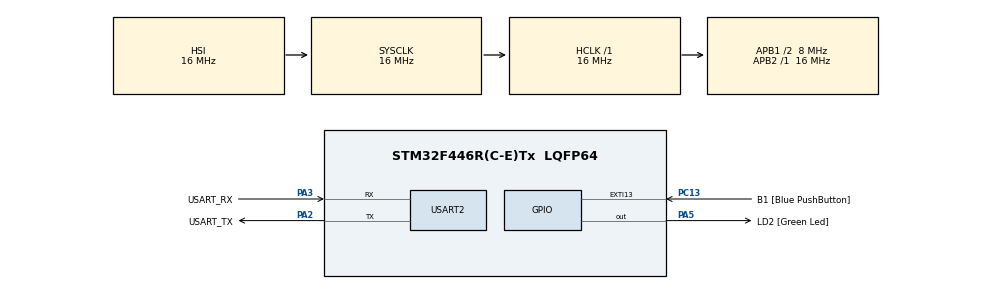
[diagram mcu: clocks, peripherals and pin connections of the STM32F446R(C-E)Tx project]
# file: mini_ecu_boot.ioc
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Mcu.Family=STM32F4
Mcu.Name=STM32F446R(C-E)Tx
Mcu.Package=LQFP64
NVIC.PriorityGroup=NVIC_PRIORITYGROUP_0
PA13.GPIO_Label=TMS
PA13.Mode=Serial_Wire
PA13.Signal=SYS_JTMS-SWDIO
PA14.GPIO_Label=TCK
PA14.Mode=Serial_Wire
PA14.Signal=SYS_JTCK-SWCLK
PA2.GPIO_Label=USART_TX
PA2.Mode=Asynchronous
PA2.Signal=USART2_TX
PA3.GPIO_Label=USART_RX
PA3.Mode=Asynchronous
PA3.Signal=USART2_RX
PA5.GPIO_Label=LD2 [Green Led]
PA5.Signal=GPIO_Output
PB3.GPIO_Label=SWO
PB3.Signal=SYS_JTDO-SWO
PC13.GPIO_Label=B1 [Blue PushButton]
PC13.GPIO_ModeDefaultEXTI=GPIO_MODE_IT_FALLING
PC13.Signal=GPXTI13
PC14-OSC32_IN.Mode=LSE-External-Oscillator
PC14-OSC32_IN.Signal=RCC_OSC32_IN
PC15-OSC32_OUT.Mode=LSE-External-Oscillator
PC15-OSC32_OUT.Signal=RCC_OSC32_OUT
PH0-OSC_IN.Mode=HSE-External-Oscillator
PH0-OSC_IN.Signal=RCC_OSC_IN
PH1-OSC_OUT.Mode=HSE-External-Oscillator
PH1-OSC_OUT.Signal=RCC_OSC_OUT
ProjectManager.HeapSize=0x200
ProjectManager.StackSize=0x400
ProjectManager.TargetToolchain=STM32CubeIDE
RCC.48MHZClocksFreq_Value=84000000
RCC.AHBFreq_Value=16000000
RCC.APB1CLKDivider=RCC_HCLK_DIV2
RCC.APB1Freq_Value=8000000
RCC.APB1TimFreq_Value=16000000
RCC.APB2Freq_Value=16000000
RCC.APB2TimFreq_Value=16000000
RCC.CortexFreq_Value=16000000
RCC.FLatency-AdvancedSettings=FLASH_LATENCY_0
RCC.HCLKFreq_Value=16000000
RCC.HSE_VALUE=8000000
RCC.HSI_VALUE=16000000
RCC.PLLN=336
RCC.PLLP=RCC_PLLP_DIV4
RCC.SYSCLKFreq_VALUE=16000000
RCC.USBFreq_Value=168000000
RCC.VCOOutputFreq_Value=336000000
USART2.VirtualMode=VM_ASYNC
board=NUCLEO-F446RE

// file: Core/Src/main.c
/**
  ******************************************************************************
  * @file    main.c
  * @brief   Bootloader entry point for Mini ECU v2.
  *
  * @details
  * This is a minimal, blocking bootloader for the STM32F446RE-based
  * "Mini ECU v2" project. It is intended to live in the first 32 KB of
  * flash (sectors 0 and 1) and to:
  *
  *   1. Initialize the HAL and basic peripherals (clock, GPIO, USART2).
  *   2. Check whether a user application appears to be present at
  *      APP_START_ADDR (0x08008000).
  *   3. If a valid app is detected:
  *        - Clean up interrupts and SysTick.
  *        - Remap the vector table to the app base.
  *        - Set MSP and PC from the app's vector table.
  *        - Jump to the application's Reset_Handler.
  *   4. If no valid app is found:
  *        - Stay in a simple error loop, blinking the LD2 LED.
  *
  * The bootloader currently does not implement any update protocol; it is
  * only a clean "chain loader". Future phases will add:
  *   - Boot decision logic (e.g., hold B1 at reset to stay in bootloader).
  *   - UART- or CAN-based firmware update protocol.
  *   - Image validation (checksums, signatures).
  *
  ******************************************************************************
  * @attention
  *
  * Copyright (c) 2025.
  * All rights reserved.
  *
  * This software is provided as-is, without any warranty.
  *
  ******************************************************************************
  */

#include "main.h"

/* USER CODE BEGIN Includes */
#include <stdio.h>
#include <string.h>
/* USER CODE END Includes */

/**
  * @brief Function pointer type for application entry point.
  *
  * This is used to represent the application's Reset_Handler as a callable
  * function after the bootloader sets up the MSP and vector table.
  */
typedef void (*pFunction)(void);

UART_HandleTypeDef huart2;

void SystemClock_Config(void);
static void MX_GPIO_Init(void);
static void MX_USART2_UART_Init(void);
/* USER CODE BEGIN PFP */

/**
  * @brief Perform a clean jump from the bootloader to the user application.
  *
  * @details
  * This function:
  *   - Reads the initial stack pointer and reset vector from APP_START_ADDR.
  *   - Performs a basic sanity check on the stack pointer (must be in SRAM).
  *   - De-initializes HAL, RCC, and SysTick.
  *   - Disables all interrupts.
  *   - Sets the vector table offset (VTOR) to APP_START_ADDR.
  *   - Sets MSP to the application's initial stack pointer.
  *   - Calls the application's Reset_Handler (never returns on success).
  *
  * If the application does not appear valid, this function returns and the
  * bootloader can take appropriate fallback action (e.g., stay in an error
  * loop or enter update mode).
  */
static void JumpToApplication(void);

/**
  * @brief Check if the user button (B1) is currently pressed.
  *
  * @retval 1 if pressed, 0 otherwise.
  *
  * @note On NUCLEO-F446RE, B1 is active-high on PC13 when using the default
  *       board configuration. Adjust the logic if your hardware differs.
  */
static uint8_t Boot_IsButtonPressed(void)
{
  GPIO_PinState state = HAL_GPIO_ReadPin(B1_GPIO_Port, B1_Pin);
  return (state == GPIO_PIN_SET) ? 1U : 0U;
}

/**
  * @brief Print a simple ASCII message over UART2.
  *
  * @param msg  Null-terminated C-string (no printf formatting here).
  */
static void Boot_Print(const char *msg)
{
  if (msg == NULL)
  {
    return;
  }
  size_t len = strlen(msg);
  if (len == 0U)
  {
    return;
  }
  (void)HAL_UART_Transmit(&huart2, (uint8_t *)msg, (uint16_t)len, 100);
}

/* USER CODE END PFP */

/* USER CODE BEGIN 0 */

static void JumpToApplication(void)
{
  uint32_t appStack = *(__IO uint32_t *)APP_START_ADDR;
  uint32_t appReset = *(__IO uint32_t *)(APP_START_ADDR + 4U);

  /*-------------------------------------------------------------------------
   * Sanity check: the initial stack pointer should point into SRAM.
   * For STM32F446RE:
   *   - SRAM1: 0x2000 0000 .. 0x2001 FFFF (128 KB)
   * If this check fails, we assume there is no valid application image.
   *-----------------------------------------------------------------------*/
  if ((appStack < 0x20000000U) || (appStack > 0x20020000U))
  {
    /* No apparently valid app; do not jump. */
    return;
  }

  /* De-initialize peripherals and HAL to leave a clean state. */
  HAL_RCC_DeInit();
  HAL_DeInit();

  /* Disable SysTick to avoid unwanted interrupts after the jump. */
  SysTick->CTRL = 0U;
  SysTick->LOAD = 0U;
  SysTick->VAL  = 0U;

  /* Disable all NVIC interrupts and clear any pending flags. */
  for (uint8_t i = 0U; i < 8U; ++i)
  {
    NVIC->ICER[i] = 0xFFFFFFFFU;
    NVIC->ICPR[i] = 0xFFFFFFFFU;
  }

  /* Remap vector table to the application base address. */
  SCB->VTOR = APP_START_ADDR;

  /* Set the main stack pointer to the application's initial stack. */
  __set_MSP(appStack);

  /* Jump to the application's Reset_Handler. */
  pFunction appEntry = (pFunction)appReset;
  appEntry();

  /* Should never reach here if the application is valid. */
}

/* USER CODE END 0 */

int main(void)
{

  /* Reset of all peripherals, Initializes the Flash interface and the Systick. */
  HAL_Init();

  /* Configure the system clock. */
  SystemClock_Config();

  /* Initialize all configured peripherals. */
  MX_GPIO_Init();
  MX_USART2_UART_Init();

  /* USER CODE BEGIN 2 */

  /* Basic banner so you know bootloader is alive. */
    Boot_Print("\r\n[BOOT] Mini ECU v2 bootloader\r\n");
    Boot_Print("[BOOT] Hold B1 during reset to stay in bootloader.\r\n");

    /* Small delay so user has time to keep button pressed after reset if needed. */
    HAL_Delay(10);

    /* Decide boot mode:
     *  - If B1 is pressed at startup  -> stay in bootloader (future update mode).
     *  - Otherwise                    -> attempt to jump to application.
     */
    if (Boot_IsButtonPressed())
    {
      Boot_Print("[BOOT] B1 is pressed: staying in bootloader.\r\n");
      Boot_Print("[BOOT] (Future) OTA / firmware update mode.\r\n");

      /* Phase 2: no update protocol yet, just blink LED + print messages. */
      while (1)
      {
        HAL_GPIO_TogglePin(LD2_GPIO_Port, LD2_Pin);
        HAL_Delay(300);
      }
    }
    else
    {
      Boot_Print("[BOOT] B1 not pressed: attempting to jump to application...\r\n");
      JumpToApplication();
    }

    /* If we reach this point, the application was not considered valid. */
    Boot_Print("[BOOT] No valid application found. Staying in error loop.\r\n");
    while (1)
    {
      HAL_GPIO_TogglePin(LD2_GPIO_Port, LD2_Pin);
      HAL_Delay(500);
    }
  /* USER CODE END 2 */
}

void SystemClock_Config(void)
{
  RCC_OscInitTypeDef RCC_OscInitStruct = {0};
  RCC_ClkInitTypeDef RCC_ClkInitStruct = {0};

  /** Configure the main internal regulator output voltage */
  __HAL_RCC_PWR_CLK_ENABLE();
  __HAL_PWR_VOLTAGESCALING_CONFIG(PWR_REGULATOR_VOLTAGE_SCALE3);

  /** Initializes the RCC Oscillators according to the specified parameters
    * in the RCC_OscInitTypeDef structure.
    */
  RCC_OscInitStruct.OscillatorType = RCC_OSCILLATORTYPE_HSI;
  RCC_OscInitStruct.HSIState       = RCC_HSI_ON;
  RCC_OscInitStruct.HSICalibrationValue = RCC_HSICALIBRATION_DEFAULT;
  RCC_OscInitStruct.PLL.PLLState   = RCC_PLL_NONE;
  if (HAL_RCC_OscConfig(&RCC_OscInitStruct) != HAL_OK)
  {
    Error_Handler();
  }

  /** Initializes the CPU, AHB and APB buses clocks */
  RCC_ClkInitStruct.ClockType      = RCC_CLOCKTYPE_HCLK | RCC_CLOCKTYPE_SYSCLK
                                   | RCC_CLOCKTYPE_PCLK1 | RCC_CLOCKTYPE_PCLK2;
  RCC_ClkInitStruct.SYSCLKSource   = RCC_SYSCLKSOURCE_HSI;
  RCC_ClkInitStruct.AHBCLKDivider  = RCC_SYSCLK_DIV1;
  RCC_ClkInitStruct.APB1CLKDivider = RCC_HCLK_DIV2;
  RCC_ClkInitStruct.APB2CLKDivider = RCC_HCLK_DIV1;

  if (HAL_RCC_ClockConfig(&RCC_ClkInitStruct, FLASH_LATENCY_0) != HAL_OK)
  {
    Error_Handler();
  }
}

static void MX_GPIO_Init(void)
{
  GPIO_InitTypeDef GPIO_InitStruct = {0};

  /* GPIO Ports Clock Enable */
  __HAL_RCC_GPIOC_CLK_ENABLE();
  __HAL_RCC_GPIOA_CLK_ENABLE();

  /*Configure GPIO pin Output Level */
  HAL_GPIO_WritePin(LD2_GPIO_Port, LD2_Pin, GPIO_PIN_RESET);

  /*Configure GPIO pin : LD2_Pin */
  GPIO_InitStruct.Pin   = LD2_Pin;
  GPIO_InitStruct.Mode  = GPIO_MODE_OUTPUT_PP;
  GPIO_InitStruct.Pull  = GPIO_NOPULL;
  GPIO_InitStruct.Speed = GPIO_SPEED_FREQ_LOW;
  HAL_GPIO_Init(LD2_GPIO_Port, &GPIO_InitStruct);

  /*Configure GPIO pin : B1_Pin (user button, for future boot mode selection) */
  GPIO_InitStruct.Pin  = B1_Pin;
  GPIO_InitStruct.Mode = GPIO_MODE_INPUT;
  GPIO_InitStruct.Pull = GPIO_NOPULL;
  HAL_GPIO_Init(B1_GPIO_Port, &GPIO_InitStruct);
}

static void MX_USART2_UART_Init(void)
{
  huart2.Instance          = USART2;
  huart2.Init.BaudRate     = 115200;
  huart2.Init.WordLength   = UART_WORDLENGTH_8B;
  huart2.Init.StopBits     = UART_STOPBITS_1;
  huart2.Init.Parity       = UART_PARITY_NONE;
  huart2.Init.Mode         = UART_MODE_TX_RX;
  huart2.Init.HwFlowCtl    = UART_HWCONTROL_NONE;
  huart2.Init.OverSampling = UART_OVERSAMPLING_16;
  if (HAL_UART_Init(&huart2) != HAL_OK)
  {
    Error_Handler();
  }
}

void Error_Handler(void)
{
  __disable_irq();
  while (1)
  {
    /* Stay here; optionally toggle LD2 for visual indication. */
    HAL_GPIO_TogglePin(LD2_GPIO_Port, LD2_Pin);
    HAL_Delay(250);
  }
}
